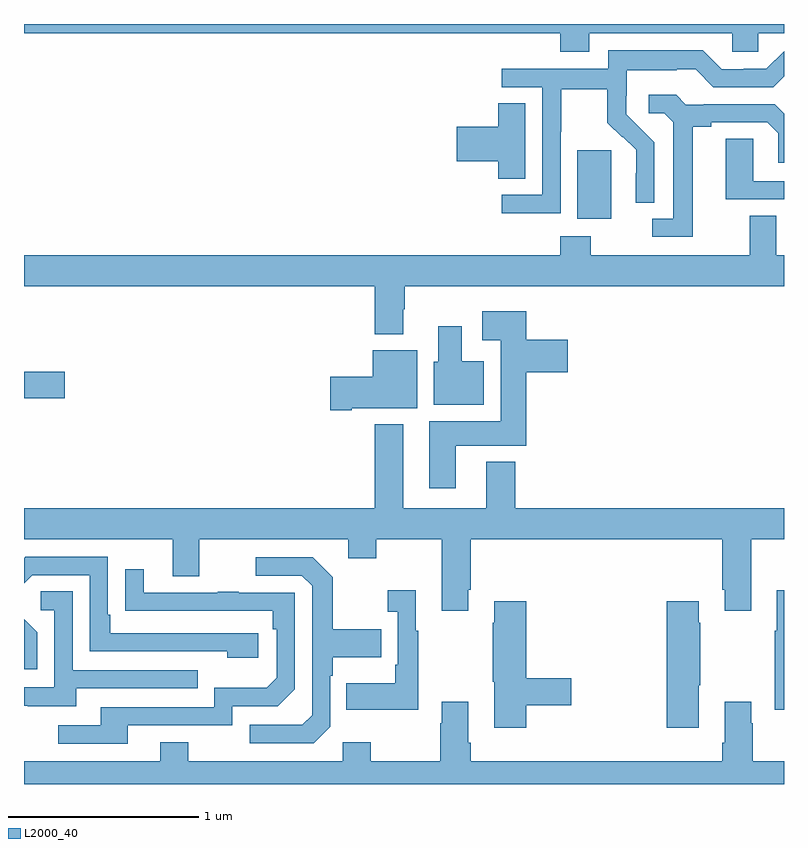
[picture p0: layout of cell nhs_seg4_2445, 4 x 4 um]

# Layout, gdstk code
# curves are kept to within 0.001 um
import gdstk
lib = gdstk.Library(unit=1e-6, precision=1e-09)
def R(c, l, rs):  # rectangles x0, y0, x1, y1
    for r in rs: c.add(gdstk.rectangle(r[:2], r[2:], *l))
def P(c, l, *ps):  # polygons
    for p in ps: c.add(gdstk.Polygon(p, *l))
L2000_40 = (2000, 40)

nhs_seg4_2445 = lib.new_cell('nhs_seg4_2445')
R(nhs_seg4_2445, L2000_40, [(239,762.929,239.215,763.071), (241.913,763.874,242.092,764.235)])
P(nhs_seg4_2445, L2000_40, [(239,764.852),(241.823,764.852),(241.823,764.753),(241.975,764.753),(241.975,764.852),(242.727,764.852),(242.727,764.754),(242.865,764.754),(242.865,764.852),(243,764.852),(243,764.9),(239,764.9)],
  [(241.824,764.332),(241.827,764.332),(241.827,764.556),(242.071,764.556),(242.071,764.381),(242.148,764.304),(242.151,764.307),(242.222,764.237),(242.222,764.114),(242.22,764.114),(242.22,763.96),(242.316,763.96),(242.316,764.278),(242.17,764.426),(242.17,764.523),(242.172,764.523),(242.172,764.657),(242.435,764.657),(242.435,764.661),(242.535,764.661),(242.628,764.568),(242.943,764.568),(243,764.625),(243,764.757),(242.907,764.664),(242.789,764.664),(242.789,764.661),(242.673,764.661),(242.573,764.761),(242.076,764.761),(242.076,764.664),(241.515,764.664),(241.515,764.568),(241.728,764.568),(241.728,764.001),(241.515,764.001),(241.515,763.903),(241.824,763.903)],
  [(242.521,764.36),(242.617,764.36),(242.617,764.382),(242.912,764.382),(242.969,764.325),(242.969,764.169),(243,764.169),(243,764.428),(242.95,764.478),(242.578,764.478),(242.578,764.475),(242.484,764.475),(242.432,764.527),(242.289,764.527),(242.289,764.43),(242.37,764.43),(242.417,764.383),(242.417,763.875),(242.307,763.875),(242.307,763.779),(242.521,763.779)],
  [(241.639,764.483),(241.496,764.483),(241.496,764.36),(241.278,764.36),(241.278,764.177),(241.496,764.177),(241.496,764.086),(241.639,764.086)],
  [(243,764.073),(242.838,764.073),(242.838,764.297),(242.693,764.297),(242.693,763.977),(243,763.977)],
  [(243,763.684),(242.959,763.684),(242.959,763.892),(242.819,763.892),(242.819,763.684),(241.983,763.684),(241.983,763.783),(241.823,763.783),(241.823,763.684),(239,763.684),(239,763.52),(240.845,763.52),(240.845,763.268),(240.997,763.268),(240.997,763.4),(241.005,763.4),(241.005,763.52),(243,763.52)],
  [(241.273,762.68),(241.643,762.68),(241.643,763.067),(241.861,763.067),(241.861,763.237),(241.643,763.237),(241.643,763.387),(241.413,763.387),(241.413,763.235),(241.508,763.235),(241.508,762.808),(241.133,762.808),(241.133,762.456),(241.273,762.456)],
  [(241.42,763.126),(241.303,763.126),(241.303,763.309),(241.181,763.309),(241.181,763.122),(241.157,763.122),(241.157,762.896),(241.42,762.896)],
  [(240.724,762.878),(241.069,762.878),(241.069,763.183),(240.836,763.183),(240.836,763.044),(240.612,763.044),(240.612,762.866),(240.724,762.866)],
  [(240.845,762.793),(240.845,762.352),(239,762.352),(239,762.188),(239.783,762.188),(239.783,761.994),(239.923,761.994),(239.923,762.188),(240.707,762.188),(240.707,762.089),(240.855,762.089),(240.855,762.188),(241.199,762.188),(241.199,761.811),(241.339,761.811),(241.339,761.923),(241.352,761.923),(241.352,762.188),(242.675,762.188),(242.675,761.923),(242.687,761.923),(242.687,761.811),(242.827,761.811),(242.827,762.188),(243,762.188),(243,762.352),(241.586,762.352),(241.586,762.595),(241.433,762.595),(241.433,762.352),(240.997,762.352),(240.997,762.793)],
  [(240.232,761.694),(239.455,761.694),(239.455,761.791),(239.442,761.791),(239.442,762.096),(239.007,762.096),(239,762.089),(239,761.957),(239.043,762),(239.346,762),(239.346,761.598),(240.071,761.598),(240.071,761.564),(240.232,761.564)],
  [(240.612,761.202),(240.612,761.471),(240.625,761.471),(240.625,761.567),(240.881,761.567),(240.881,761.715),(240.625,761.715),(240.625,761.987),(240.519,762.093),(240.219,762.093),(240.219,761.997),(240.462,761.997),(240.516,761.943),(240.516,761.262),(240.465,761.211),(240.189,761.211),(240.189,761.115),(240.525,761.115)],
  [(239.545,761.208),(240.096,761.208),(240.096,761.31),(240.336,761.31),(240.426,761.4),(240.426,761.907),(240.131,761.907),(240.131,761.912),(240.019,761.912),(240.019,761.907),(239.629,761.907),(239.629,762.031),(239.533,762.031),(239.533,761.812),(240.31,761.811),(240.31,761.714),(240.33,761.714),(240.33,761.46),(240.277,761.407),(240,761.407),(240,761.304),(239.405,761.304),(239.405,761.208),(239.181,761.208),(239.181,761.112),(239.545,761.112)],
  [(241.075,761.707),(241.063,761.707),(241.063,761.92),(240.915,761.92),(240.915,761.807),(240.966,761.807),(240.966,761.527),(240.954,761.527),(240.954,761.431),(240.697,761.431),(240.697,761.291),(241.075,761.291)],
  [(243,761.92),(242.963,761.92),(242.963,761.707),(242.952,761.707),(242.952,761.291),(243,761.291)],
  [(239.275,761.403),(239.915,761.403),(239.915,761.499),(239.256,761.499),(239.256,761.915),(239.088,761.915),(239.088,761.814),(239.16,761.814),(239.16,761.409),(239,761.409),(239,761.313),(239.021,761.313),(239.021,761.309),(239.275,761.309)],
  [(242.551,761.419),(242.559,761.419),(242.559,761.75),(242.551,761.75),(242.551,761.863),(242.384,761.863),(242.384,761.196),(242.551,761.196)],
  [(241.643,761.314),(241.879,761.314),(241.879,761.456),(241.643,761.456),(241.643,761.863),(241.475,761.863),(241.475,761.75),(241.468,761.75),(241.468,761.439),(241.475,761.439),(241.475,761.196),(241.643,761.196)],
  [(239.07,761.698),(239,761.768),(239,761.505),(239.07,761.505)],
  [(243,761.02),(242.835,761.02),(242.835,761.219),(242.827,761.219),(242.827,761.332),(242.687,761.332),(242.687,761.116),(242.675,761.116),(242.675,761.02),(241.352,761.02),(241.352,761.116),(241.339,761.116),(241.339,761.332),(241.199,761.332),(241.199,761.219),(241.192,761.219),(241.192,761.02),(240.825,761.02),(240.825,761.119),(240.678,761.119),(240.678,761.02),(239.865,761.02),(239.865,761.119),(239.717,761.119),(239.717,761.02),(239,761.02),(239,760.9),(243,760.9)])

lib.write_gds('nhs_seg4_2445.gds')
